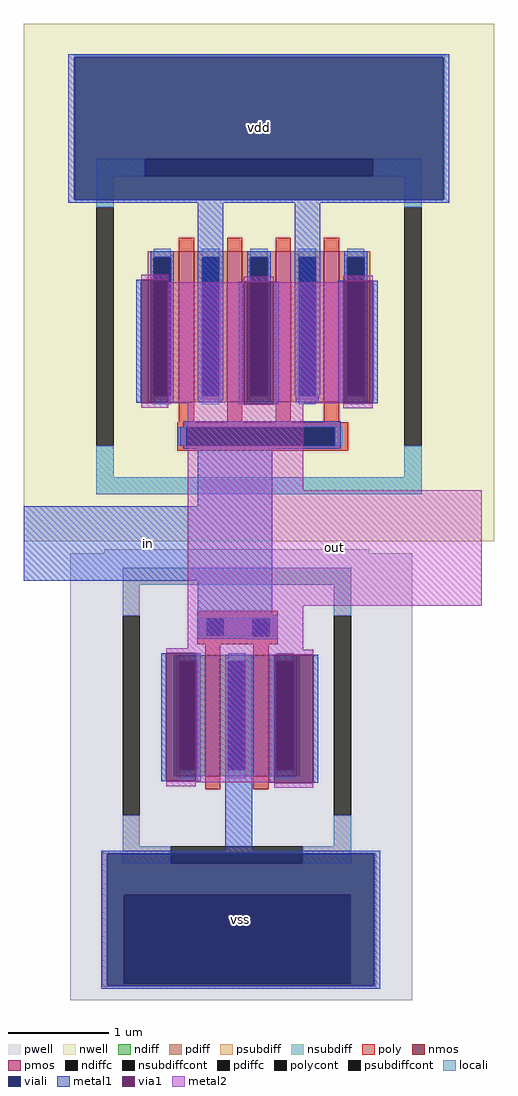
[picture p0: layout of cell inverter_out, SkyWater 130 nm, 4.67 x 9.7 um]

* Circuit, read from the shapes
.subckt inverter_out in out vdd vss
XM1 vss in out vss sky130_fd_pr__nfet_01v8 w=1.2 l=0.15 m=2
XM2 vdd in out vdd sky130_fd_pr__pfet_01v8 w=1.5 l=0.15 m=4
.ends

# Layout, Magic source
magic
tech sky130A
magscale 1 2
<< nwell >>
rect 408 664 1342 1692
<< pwell >>
rect 500 -247 1179 641
<< psubdiff >>
rect 564 -38 1108 46
rect 564 -215 606 -38
rect 1057 -215 1108 -38
rect 564 -221 1108 -215
<< nsubdiff >>
rect 509 1343 1244 1631
<< psubdiffcont >>
rect 606 -215 1057 -38
<< poly >>
rect 716 901 746 941
rect 812 901 842 943
rect 908 901 938 943
rect 1004 901 1034 943
rect 713 891 1052 901
rect 713 854 731 891
rect 1025 854 1052 891
rect 713 844 1052 854
<< polycont >>
rect 731 854 1025 891
<< locali >>
rect 715 854 731 891
rect 1025 854 1041 891
<< viali >>
rect 508 1343 1241 1626
rect 731 854 1025 891
rect 574 -38 1104 44
rect 574 -215 606 -38
rect 606 -215 1057 -38
rect 1057 -215 1104 -38
rect 574 -219 1104 -215
<< metal1 >>
rect 496 1626 1253 1632
rect 496 1343 508 1626
rect 1241 1343 1253 1626
rect 496 1337 1253 1343
rect 631 940 641 1184
rect 695 940 705 1184
rect 753 945 804 1337
rect 835 937 845 1180
rect 904 937 914 1180
rect 946 954 997 1337
rect 1032 939 1042 1182
rect 1101 939 1111 1182
rect 725 891 1037 903
rect 719 854 731 891
rect 1025 854 1037 891
rect 725 848 1037 854
rect 753 734 901 848
rect 408 586 901 734
rect 753 471 901 586
rect 681 188 691 442
rect 749 188 759 442
rect 808 50 862 439
rect 895 185 905 439
rect 983 185 993 439
rect 562 44 1116 50
rect 562 -219 574 44
rect 1104 -219 1116 44
rect 562 -225 1116 -219
<< via1 >>
rect 641 940 695 1184
rect 845 937 904 1180
rect 1042 939 1101 1182
rect 691 188 749 442
rect 905 185 983 439
<< metal2 >>
rect 641 1184 695 1194
rect 845 1180 904 1190
rect 695 940 845 1179
rect 641 939 845 940
rect 641 930 695 939
rect 733 937 845 939
rect 1042 1182 1101 1192
rect 904 939 1042 1179
rect 1101 939 1103 1179
rect 904 937 963 939
rect 733 766 963 937
rect 1042 929 1101 939
rect 733 536 1318 766
rect 733 452 963 536
rect 691 449 963 452
rect 691 442 983 449
rect 749 439 983 442
rect 749 188 905 439
rect 691 186 905 188
rect 691 178 749 186
rect 905 175 983 185
use sky130_fd_pr__pfet_01v8_5UHRWD  sky130_fd_pr__pfet_01v8_5UHRWD_0
transform 1 0 875 0 1 1091
box -359 -369 359 369
use sky130_fd_pr__nfet_01v8_WRE4LY  sky130_fd_pr__nfet_01v8_WRE4LY_0
transform 1 0 831 0 1 318
box -263 -330 263 330
<< labels >>
rlabel metal1 408 586 901 734 1 in
rlabel metal2 733 536 1318 766 1 out
rlabel nsubdiff 509 1343 1244 1631 1 vdd
rlabel pwell 574 -219 1104 44 1 vss
<< end >>

# cell sky130_fd_pr__pfet_01v8_5UHRWD: kit device sky130_fd_pr__pfet_01v8, w 1.5 l 0.15 m 1 nf 4 diffcov 100 polycov 100 guard 1 glc 1 grc 1 gtc 1 gbc 0 tbcov 100 rlcov 100 topc 0 botc 0 poverlap 0 doverlap 1 lmin 0.15 wmin 0.42 compatible {sky130_fd_pr__pfet_01v8 sky130_fd_pr__pfet_01v8_lvt sky130_fd_pr__pfet_01v8_hvt sky130_fd_pr__pfet_g5v0d10v5} full_metal 1 viagl 0 viagr 0 viagt 0 viagb 0 viagate 100 viadrn 100 viasrc 100

# cell sky130_fd_pr__nfet_01v8_WRE4LY: kit device sky130_fd_pr__nfet_01v8, w 1.2 l 0.150 m 1 nf 2 diffcov 100 polycov 100 guard 1 glc 1 grc 1 gtc 0 gbc 1 tbcov 100 rlcov 100 topc 1 botc 1 poverlap 0 doverlap 1 lmin 0.15 wmin 0.42 compatible {sky130_fd_pr__nfet_01v8 sky130_fd_pr__nfet_01v8_lvt sky130_fd_bs_flash__special_sonosfet_star sky130_fd_pr__nfet_g5v0d10v5 sky130_fd_pr__nfet_05v0_nvt} full_metal 1 viasrc 100 viadrn 100 viagate 100 viagb 0 viagr 0 viagl 0 viagt 0
